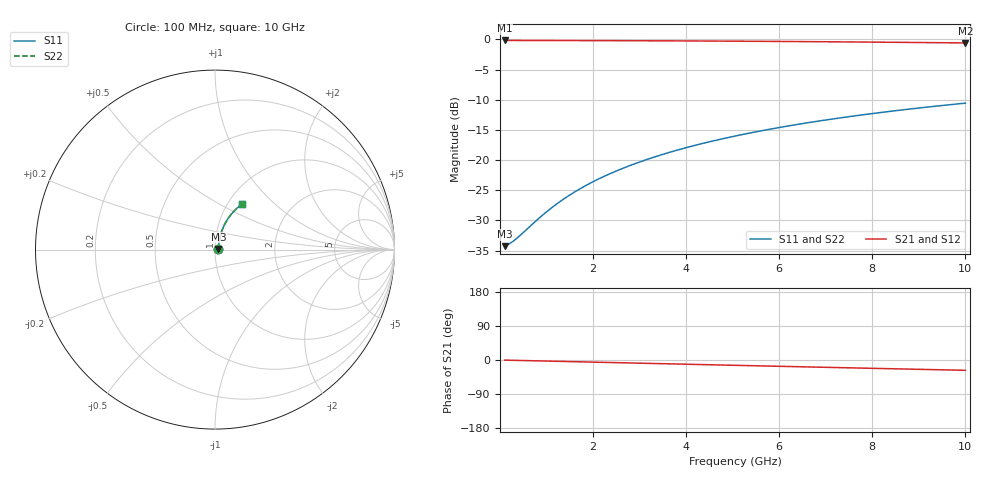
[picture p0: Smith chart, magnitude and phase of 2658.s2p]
# Hz S RI R 50.00
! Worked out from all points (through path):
!   100 points, 100 MHz to 10 GHz, reference 50 ohm
!   highest |S21| = -0.17 dB at 100 MHz (marker M1); lowest = -0.6 dB at 10 GHz (marker M2)
!   group delay of S21, straight-line fit = 7.57 ps
!   lowest |S11| = -34.3 dB at 100 MHz (marker M3), VSWR 1.04, Z = 51.9 + j0.32 ohm
!   |S11| at or under -10 dB: start of sweep to end of sweep
!   |S22| runs from -34.3 to -10.6 dB; largest |S21 - S12| = 0
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1e8  0.0191 0.00307  0.9809 -0.00479  0.9809 -0.00479  0.0191 0.00307
2e8  0.0193 0.00615  0.9807 -0.00959  0.9807 -0.00959  0.0193 0.00615
3e8  0.0194 0.00922  0.9805 -0.0144  0.9805 -0.0144  0.0194 0.00922
4e8  0.0196 0.0123  0.9803 -0.0192  0.9803 -0.0192  0.0196 0.0123
9e8  0.0208 0.0276  0.979 -0.0431  0.979 -0.0431  0.0208 0.0276
1.2e9  0.0219 0.0367  0.9779 -0.0574  0.9779 -0.0574  0.0219 0.0367
1.5e9  0.0232 0.0458  0.9764 -0.0716  0.9764 -0.0716  0.0232 0.0458
1.8e9  0.0248 0.0549  0.9747 -0.0858  0.9747 -0.0858  0.0248 0.0549
2.1e9  0.0266 0.0639  0.9727 -0.1  0.9727 -0.1  0.0266 0.0639
2.5e9  0.0294 0.0758  0.9696 -0.1188  0.9696 -0.1188  0.0294 0.0758
2.9e9  0.0326 0.0875  0.9661 -0.1374  0.9661 -0.1374  0.0326 0.0875
3.4e9  0.0373 0.102  0.9609 -0.1605  0.9609 -0.1605  0.0373 0.102
3.8e9  0.0416 0.1133  0.9562 -0.1788  0.9562 -0.1788  0.0416 0.1133
4.2e9  0.0462 0.1245  0.9511 -0.1968  0.9511 -0.1968  0.0462 0.1245
4.6e9  0.0513 0.1354  0.9455 -0.2147  0.9455 -0.2147  0.0513 0.1354
5.1e9  0.0582 0.1487  0.9378 -0.2366  0.9378 -0.2366  0.0582 0.1487
5.9e9  0.0704 0.1692  0.9242 -0.271  0.9242 -0.271  0.0704 0.1692
6.7e9  0.0841 0.1885  0.909 -0.3042  0.909 -0.3042  0.0841 0.1885
7.5e9  0.099 0.2066  0.8924 -0.3362  0.8924 -0.3362  0.099 0.2066
8.4e9  0.1172 0.2254  0.872 -0.3706  0.872 -0.3706  0.1172 0.2254
9.2e9  0.1344 0.2405  0.8526 -0.3998  0.8526 -0.3998  0.1344 0.2405
1e10  0.1524 0.2543  0.8322 -0.4275  0.8322 -0.4275  0.1524 0.2543
